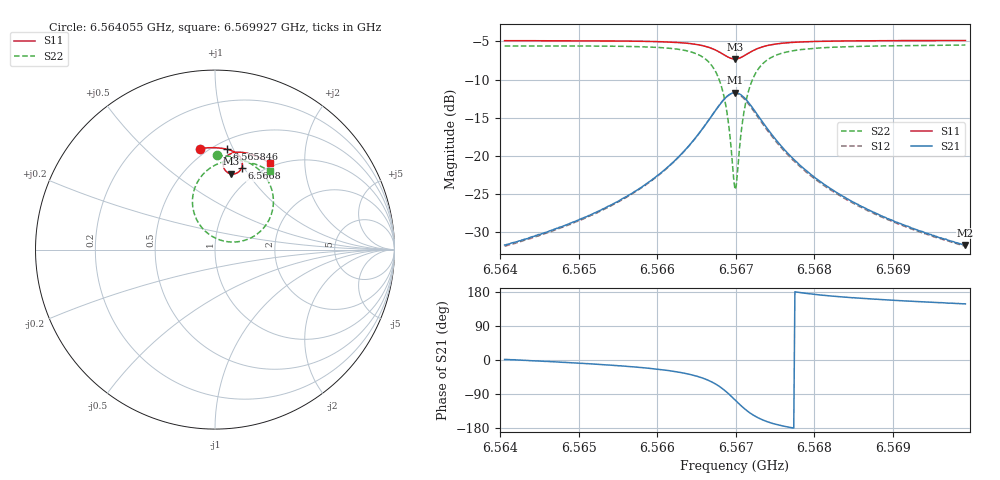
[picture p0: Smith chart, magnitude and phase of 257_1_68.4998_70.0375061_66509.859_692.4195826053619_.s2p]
#  HZ  S  RI  R  50.00
! Rohde & Schwarz Vector Network Analyzer
! Rohde-Schwarz,ZNB20-2Port,1311601062101988,3.16
! Created: UTC 3/20/2024, 5:00:05 PM
! freq[Hz]  re:S11  im:S11  re:S21  im:S21  re:S12  im:S12  re:S22  im:S22
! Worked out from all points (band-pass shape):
!   401 points, 6.564055 GHz to 6.569927 GHz, reference 50 ohm
!   highest |S21| = -11.72 dB at 6.566991 GHz (marker M1); lowest = -31.7 dB at 6.569927 GHz (marker M2)
!   |S21| within 3 dB of the highest: 6.566697 GHz to 6.567284 GHz (587.1 kHz wide, 0.00894 % of centre)
!   lowest |S11| = -7.3 dB at 6.566991 GHz (marker M3), VSWR 2.52, Z = 40.3 + j41.8 ohm
!   |S11| at or under -10 dB: nowhere
!   |S22| runs from -24.4 to -5.5 dB; largest |S21 - S12| = 0.012
!   S11 on the Smith chart (normalised r, x): 6.564055 GHz: 0.45, +0.75; 6.565846 GHz: 0.58, +0.94; 6.5668 GHz: 0.83, +0.97; 6.569927 GHz: 0.94, +1.35
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6.564055e9  -0.0859 0.5626  0.026 0.000669  0.0255 0.000218  0.0127 0.5247
6.5650385e9  -0.00664 0.568  0.0383 -0.00586  0.0376 -0.00654  0.102 0.5148
6.5658458e9  0.0659 0.5596  0.0604 -0.023  0.0593 -0.0237  0.1978 0.479
6.566022e9  0.0835 0.5544  0.0686 -0.0317  0.0675 -0.0324  0.2248 0.4617
6.5663303e9  0.1174 0.5377  0.0872 -0.0594  0.0859 -0.0606  0.2802 0.4065
6.5665504e9  0.1422 0.5124  0.1008 -0.1033  0.0986 -0.1052  0.3195 0.3219
6.5666972e9  0.1525 0.4821  0.097 -0.1561  0.0931 -0.1589  0.3206 0.221
6.5668e9  0.1477 0.4532  0.0713 -0.2059  0.0648 -0.2085  0.2765 0.1273
6.5668881e9  0.1277 0.4297  0.0201 -0.2443  0.0108 -0.2447  0.1838 0.0581
6.5669174e9  0.1174 0.4245  -0.00341 -0.2517  -0.0135 -0.251  0.1416 0.0458
6.5669615e9  0.0997 0.4211  -0.0423 -0.2547  -0.0528 -0.2511  0.0723 0.0435
6.5669908e9  0.0875 0.4223  -0.0686 -0.2502  -0.0788 -0.2448  0.0265 0.054
6.5670202e9  0.0759 0.4263  -0.0934 -0.2404  -0.1029 -0.2334  -0.016 0.0738
6.5670789e9  0.0573 0.4411  -0.1339 -0.209  -0.1405 -0.1996  -0.0817 0.1335
6.5671229e9  0.049 0.4556  -0.1536 -0.1799  -0.1575 -0.1698  -0.1108 0.187
6.5671816e9  0.0454 0.4753  -0.166 -0.1406  -0.1672 -0.1311  -0.1254 0.2569
6.567255e9  0.0494 0.4968  -0.1656 -0.0987  -0.1647 -0.0905  -0.117 0.3295
6.5675193e9  0.0885 0.5348  -0.1243 -0.0216  -0.1216 -0.018  -0.0224 0.4576
6.5679743e9  0.147 0.5421  -0.0739 0.00791  -0.0721 0.00908  0.097 0.4964
6.5684587e9  0.1939 0.5332  -0.0492 0.0133  -0.0481 0.0138  0.1714 0.491
6.5689578e9  0.235 0.5188  -0.0356 0.0143  -0.0349 0.0145  0.2262 0.4756
6.5699266e9  0.3048 0.4829  -0.0221 0.0137  -0.0215 0.0137  0.3062 0.4359
